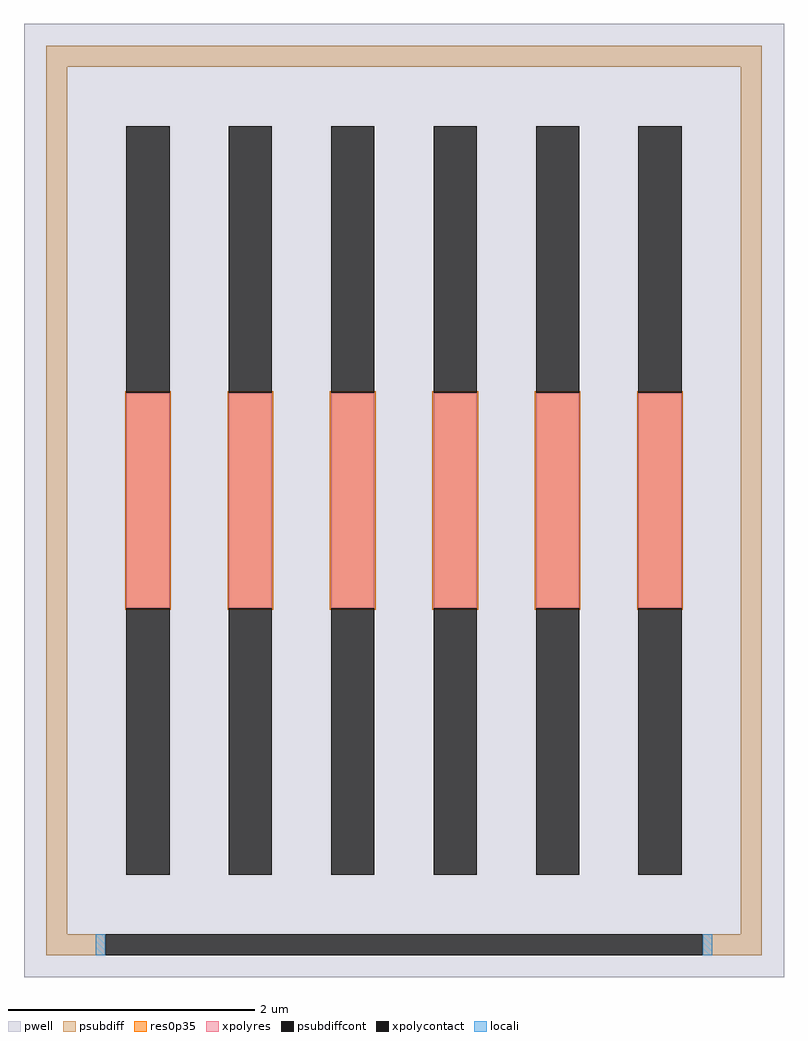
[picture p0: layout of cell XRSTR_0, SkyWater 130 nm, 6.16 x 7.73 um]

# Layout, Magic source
magic
tech sky130A
magscale 1 2
<< pwell >>
rect -616 -773 616 773
<< psubdiff >>
rect -580 703 580 737
rect -580 -703 -546 703
rect 546 -703 580 703
rect -580 -737 -484 -703
rect 484 -737 580 -703
<< psubdiffcont >>
rect -484 -737 484 -703
<< xpolycontact >>
rect -450 175 -380 607
rect -450 -607 -380 -175
rect -284 175 -214 607
rect -284 -607 -214 -175
rect -118 175 -48 607
rect -118 -607 -48 -175
rect 48 175 118 607
rect 48 -607 118 -175
rect 214 175 284 607
rect 214 -607 284 -175
rect 380 175 450 607
rect 380 -607 450 -175
<< xpolyres >>
rect -450 -175 -380 175
rect -284 -175 -214 175
rect -118 -175 -48 175
rect 48 -175 118 175
rect 214 -175 284 175
rect 380 -175 450 175
<< locali >>
rect -500 -737 -484 -703
rect 484 -737 500 -703
<< res0p35 >>
rect -452 -177 -378 177
rect -286 -177 -212 177
rect -120 -177 -46 177
rect 46 -177 120 177
rect 212 -177 286 177
rect 378 -177 452 177
<< properties >>
string FIXED_BBOX -563 -720 563 720
<< end >>
